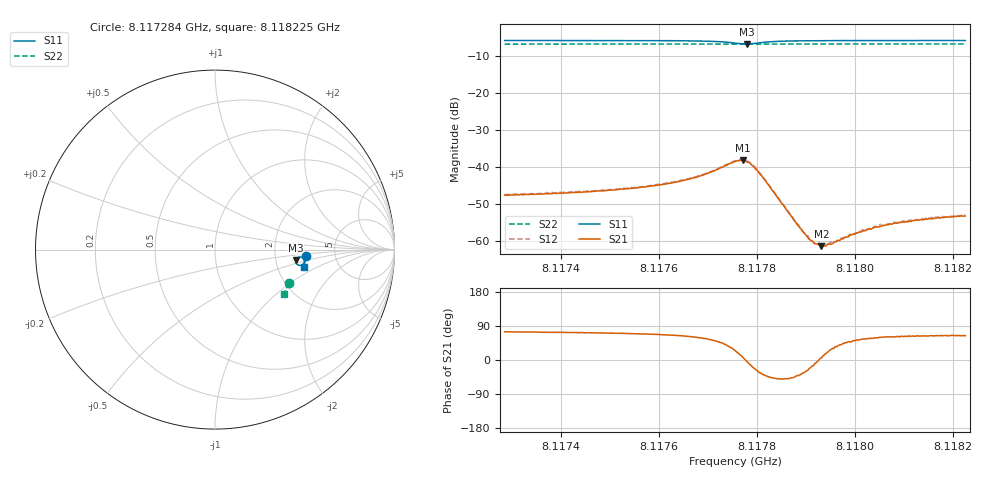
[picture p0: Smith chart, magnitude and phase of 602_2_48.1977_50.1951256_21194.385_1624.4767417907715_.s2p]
#  HZ  S  RI  R  50.00
! Rohde & Schwarz Vector Network Analyzer
! Rohde-Schwarz,ZNB20-2Port,1311601062101988,3.16
! Created: UTC 3/20/2024, 12:03:03 PM
! freq[Hz]  re:S11  im:S11  re:S21  im:S21  re:S12  im:S12  re:S22  im:S22
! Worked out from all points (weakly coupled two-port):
!   401 points, 8.117284 GHz to 8.118225 GHz, reference 50 ohm
!   highest |S21| = -38.26 dB at 8.117771 GHz (marker M1); lowest = -61.5 dB at 8.117931 GHz (marker M2)
!   lowest |S11| = -6.9 dB at 8.117778 GHz (marker M3), VSWR 2.66, Z = 130 - j19.8 ohm
!   |S11| at or under -10 dB: nowhere
!   |S22| runs from -6.9 to -6.8 dB; largest |S21 - S12| = 0.00053
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8.1172845e9  0.5052 -0.0373  0.00111 0.00397  0.00121 0.00404  0.4115 -0.1873
8.1174421e9  0.5035 -0.051  0.00138 0.00431  0.00146 0.0044  0.4072 -0.1975
8.1175361e9  0.5017 -0.06  0.00174 0.00474  0.00183 0.0048  0.4044 -0.2036
8.1175996e9  0.4995 -0.0674  0.0022 0.00523  0.0023 0.00536  0.4026 -0.2078
8.1176772e9  0.4929 -0.079  0.00365 0.00629  0.00378 0.00634  0.3999 -0.2128
8.1177054e9  0.4867 -0.0844  0.00504 0.00677  0.0051 0.0069  0.3987 -0.2147
8.1177548e9  0.4593 -0.0837  0.0107 0.00491  0.0109 0.00499  0.396 -0.2174
8.1177713e9  0.45 -0.0692  0.0121 0.00135  0.0124 0.00127  0.3954 -0.2175
8.1177783e9  0.4499 -0.0607  0.0117 -0.000622  0.012 -0.000609  0.3952 -0.2174
8.1177925e9  0.4581 -0.0465  0.00948 -0.00356  0.00972 -0.00366  0.3954 -0.2177
8.1178089e9  0.4727 -0.0411  0.00616 -0.00441  0.00628 -0.00457  0.3955 -0.2188
8.1178865e9  0.4973 -0.0592  0.00115 -0.000965  0.00117 -0.000996  0.3941 -0.2245
8.1179053e9  0.4983 -0.0628  0.000959 -0.000424  0.001 -0.000501  0.3935 -0.2257
8.1179124e9  0.4986 -0.0642  0.000953 -0.000274  0.000964 -0.000297  0.3934 -0.2261
8.1179312e9  0.4991 -0.0671  0.000839 7.68e-05  0.000875 0.000127  0.3928 -0.2274
8.1179406e9  0.4991 -0.0685  0.000808 0.000251  0.000837 0.000249  0.3925 -0.228
8.1179618e9  0.4994 -0.0713  0.000797 0.000552  0.000797 0.000572  0.3916 -0.2293
8.1180112e9  0.4991 -0.0774  0.00077 0.00106  0.000777 0.00107  0.39 -0.2325
8.1180488e9  0.4989 -0.0813  0.000769 0.00132  0.000847 0.00135  0.3888 -0.2348
8.11807e9  0.4987 -0.0834  0.000808 0.00148  0.00084 0.00146  0.3881 -0.2363
8.1181382e9  0.4976 -0.0897  0.000847 0.00171  0.00088 0.00179  0.3858 -0.2404
8.1182252e9  0.4964 -0.0971  0.000942 0.00194  0.000945 0.00202  0.3826 -0.2458
